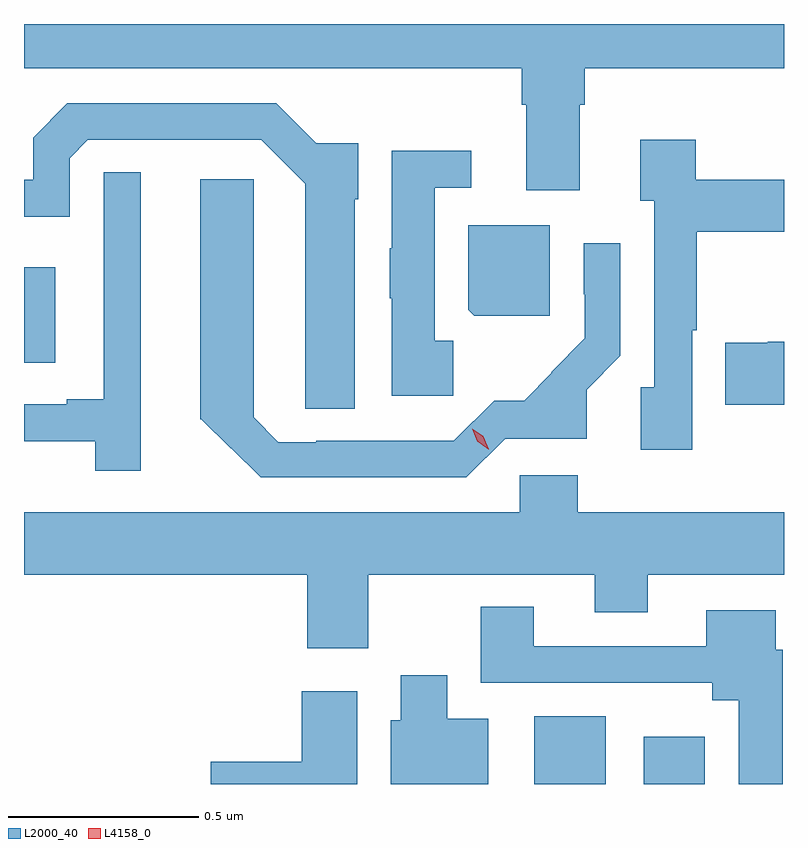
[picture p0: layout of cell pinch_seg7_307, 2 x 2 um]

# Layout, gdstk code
import gdstk
lib = gdstk.Library(unit=1e-6, precision=1e-09)
def R(c, l, rs):  # rectangles x0, y0, x1, y1
    for r in rs: c.add(gdstk.rectangle(r[:2], r[2:], *l))
def P(c, l, *ps):  # polygons
    for p in ps: c.add(gdstk.Polygon(p, *l))
L2000_40 = (2000, 40)
L4158_0 = (4158, 0)

pinch_seg7_307 = lib.new_cell('pinch_seg7_307')
R(pinch_seg7_307, L2000_40, [(562.232,1075.989,562.42,1076.167), (562.52,1075.989,562.681,1076.113), (560.889,1077.098,560.971,1077.349)])
P(pinch_seg7_307, L2000_40, [(562.351,1077.776),(562.364,1077.776),(562.364,1077.872),(562.889,1077.872),(562.889,1077.989),(560.889,1077.989),(560.889,1077.872),(562.199,1077.872),(562.199,1077.776),(562.211,1077.776),(562.211,1077.552),(562.351,1077.552)],
  [(561.76,1077.528),(561.769,1077.528),(561.769,1077.675),(561.658,1077.675),(561.553,1077.78),(561.003,1077.78),(560.913,1077.69),(560.913,1077.579),(560.889,1077.579),(560.889,1077.482),(561.009,1077.482),(561.009,1077.636),(561.057,1077.684),(561.513,1077.684),(561.629,1077.568),(561.629,1076.977),(561.76,1076.977)],
  [(562.648,1077.183),(562.659,1077.183),(562.659,1077.442),(562.889,1077.442),(562.889,1077.579),(562.657,1077.579),(562.657,1077.685),(562.511,1077.685),(562.511,1077.524),(562.548,1077.524),(562.548,1077.033),(562.512,1077.033),(562.512,1076.868),(562.648,1076.868)],
  [(562.018,1077.156),(561.97,1077.156),(561.97,1077.558),(562.066,1077.558),(562.066,1077.656),(561.857,1077.656),(561.857,1077.399),(561.851,1077.399),(561.851,1077.267),(561.857,1077.267),(561.857,1077.011),(562.018,1077.011)],
  [(561.196,1077.599),(561.099,1077.599),(561.099,1077.001),(561.002,1077.001),(561.002,1076.988),(560.889,1076.988),(560.889,1076.891),(561.076,1076.891),(561.076,1076.814),(561.196,1076.814)],
  [(562.155,1076.898),(562.37,1076.898),(562.37,1077.027),(562.458,1077.116),(562.458,1077.412),(562.362,1077.412),(562.362,1077.278),(562.365,1077.278),(562.365,1077.162),(562.276,1077.073),(562.278,1077.071),(562.205,1076.998),(562.126,1076.998),(562.02,1076.892),(561.658,1076.892),(561.658,1076.889),(561.558,1076.889),(561.494,1076.954),(561.494,1077.058),(561.493,1077.058),(561.493,1077.58),(561.353,1077.58),(561.353,1076.949),(561.356,1076.949),(561.433,1076.872),(561.434,1076.873),(561.512,1076.796),(562.053,1076.796)],
  [(562.273,1077.46),(562.058,1077.46),(562.058,1077.237),(562.074,1077.221),(562.273,1077.221)],
  [(562.889,1077.153),(562.846,1077.153),(562.846,1077.15),(562.734,1077.15),(562.734,1076.987),(562.889,1076.987)],
  [(561.795,1076.54),(562.391,1076.54),(562.391,1076.441),(562.531,1076.441),(562.531,1076.54),(562.889,1076.54),(562.889,1076.704),(562.346,1076.704),(562.346,1076.802),(562.194,1076.802),(562.194,1076.704),(560.889,1076.704),(560.889,1076.54),(561.635,1076.54),(561.635,1076.346),(561.795,1076.346)],
  [(562.886,1076.342),(562.867,1076.342),(562.867,1076.446),(562.685,1076.446),(562.685,1076.352),(562.231,1076.352),(562.231,1076.455),(562.091,1076.455),(562.091,1076.256),(562.7,1076.256),(562.7,1076.21),(562.77,1076.21),(562.77,1075.989),(562.886,1075.989)],
  [(562.111,1076.161),(562.003,1076.161),(562.003,1076.275),(561.881,1076.275),(561.881,1076.157),(561.854,1076.157),(561.854,1075.989),(562.111,1075.989)],
  [(561.766,1076.233),(561.62,1076.233),(561.62,1076.048),(561.381,1076.048),(561.381,1075.989),(561.766,1075.989)])
P(pinch_seg7_307, L4158_0, [(562.111,1076.87),(562.082,1076.891),(562.068,1076.924),(562.068,1076.924),(562.068,1076.924),(562.098,1076.904),(562.112,1076.87),(562.112,1076.87)])

lib.write_gds('pinch_seg7_307.gds')
